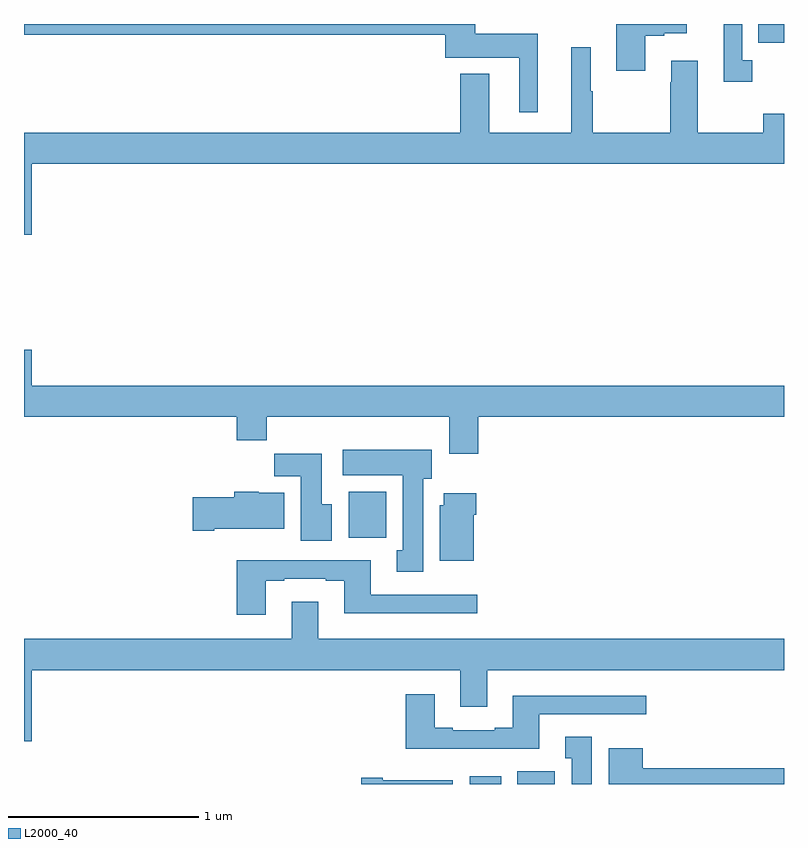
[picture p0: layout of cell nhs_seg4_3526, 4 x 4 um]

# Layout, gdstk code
import gdstk
lib = gdstk.Library(unit=1e-6, precision=1e-09)
def R(c, l, rs):  # rectangles x0, y0, x1, y1
    for r in rs: c.add(gdstk.rectangle(r[:2], r[2:], *l))
def P(c, l, *ps):  # polygons
    for p in ps: c.add(gdstk.Polygon(p, *l))
L2000_40 = (2000, 40)

nhs_seg4_3526 = lib.new_cell('nhs_seg4_3526')
R(nhs_seg4_3526, L2000_40, [(299.345,782.9,299.512,782.941), (299.597,782.9,299.794,782.968), (298.709,784.196,298.906,784.438), (300.865,786.802,301,786.9)])
P(nhs_seg4_3526, L2000_40, [(299.704,786.85),(299.374,786.85),(299.374,786.9),(297,786.9),(297,786.844),(299.216,786.844),(299.216,786.722),(299.606,786.722),(299.606,786.435),(299.704,786.435)],
  [(300.832,786.71),(300.78,786.71),(300.78,786.9),(300.683,786.9),(300.683,786.597),(300.832,786.597)],
  [(300.271,786.839),(300.371,786.839),(300.371,786.851),(300.487,786.851),(300.487,786.9),(300.116,786.9),(300.116,786.654),(300.271,786.654)],
  [(297.04,786.164),(301,786.164),(301,786.427),(300.892,786.427),(300.892,786.328),(300.547,786.328),(300.547,786.706),(300.407,786.706),(300.407,786.593),(300.4,786.593),(300.4,786.328),(299.993,786.328),(299.993,786.545),(299.983,786.545),(299.983,786.778),(299.879,786.778),(299.879,786.328),(299.449,786.328),(299.449,786.637),(299.297,786.637),(299.297,786.328),(297,786.328),(297,785.79),(297.04,785.79)],
  [(299.39,784.832),(301,784.832),(301,784.996),(297.04,784.996),(297.04,785.185),(297,785.185),(297,784.832),(298.121,784.832),(298.121,784.708),(298.277,784.708),(298.277,784.832),(299.237,784.832),(299.237,784.638),(299.39,784.638)],
  [(299.101,784.506),(299.146,784.506),(299.146,784.66),(298.677,784.66),(298.677,784.526),(298.994,784.526),(298.994,784.13),(298.961,784.13),(298.961,784.017),(299.101,784.017)],
  [(298.621,784.372),(298.567,784.372),(298.567,784.639),(298.318,784.639),(298.318,784.52),(298.457,784.52),(298.457,784.179),(298.621,784.179)],
  [(298,784.244),(298.369,784.244),(298.369,784.432),(298.236,784.432),(298.236,784.438),(298.106,784.438),(298.106,784.41),(297.888,784.41),(297.888,784.232),(298,784.232)],
  [(299.368,784.316),(299.381,784.316),(299.381,784.429),(299.21,784.429),(299.21,784.368),(299.189,784.368),(299.189,784.076),(299.368,784.076)],
  [(298.273,783.969),(298.369,783.969),(298.369,783.981),(298.589,783.981),(298.589,783.969),(298.685,783.969),(298.685,783.8),(299.386,783.8),(299.386,783.897),(298.825,783.897),(298.825,784.077),(298.361,784.077),(298.361,784.078),(298.121,784.078),(298.121,783.792),(298.273,783.792)],
  [(297.04,783.5),(299.297,783.5),(299.297,783.306),(299.437,783.306),(299.437,783.5),(301,783.5),(301,783.664),(298.549,783.664),(298.549,783.859),(298.409,783.859),(298.409,783.664),(297,783.664),(297,783.126),(297.04,783.126)],
  [(299.713,783.267),(300.274,783.267),(300.274,783.364),(299.573,783.364),(299.573,783.196),(299.477,783.196),(299.477,783.183),(299.257,783.183),(299.257,783.196),(299.161,783.196),(299.161,783.373),(299.009,783.373),(299.009,783.086),(299.713,783.086)],
  [(299.989,783.148),(299.849,783.148),(299.849,783.035),(299.882,783.035),(299.882,782.9),(299.989,782.9)],
  [(301,782.984),(300.256,782.984),(300.256,783.088),(300.077,783.088),(300.077,782.9),(301,782.9)],
  [(299.257,782.92),(298.888,782.92),(298.888,782.933),(298.776,782.933),(298.776,782.9),(299.257,782.9)])

lib.write_gds('nhs_seg4_3526.gds')
